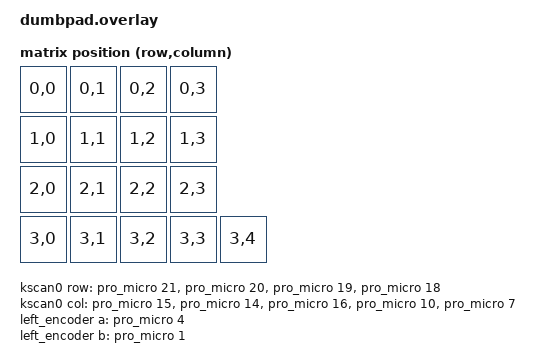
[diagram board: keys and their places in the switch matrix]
#include <dt-bindings/zmk/matrix_transform.h>
#include <physical_layouts.dtsi>

/ {
    chosen {
        zmk,kscan = &kscan0;
        zmk,physical-layout = &physical_layout0;
    };

    default_transform: keymap_transform_0 {
        compatible = "zmk,matrix-transform";
        columns = <5>;
        rows = <4>;
        map = <
            RC(0,0) RC(0,1) RC(0,2) RC(0,3)
            RC(1,0) RC(1,1) RC(1,2) RC(1,3)
            RC(2,0) RC(2,1) RC(2,2) RC(2,3)
            RC(3,0) RC(3,1) RC(3,2) RC(3,3) RC(3,4)
        >;
    };

    kscan0: kscan_0 {
        compatible = "zmk,kscan-gpio-matrix";
        diode-direction = "col2row";
        wakeup-source;

        row-gpios
            = <&pro_micro 21 (GPIO_ACTIVE_HIGH | GPIO_PULL_DOWN)> // F4 / A3
            , <&pro_micro 20 (GPIO_ACTIVE_HIGH | GPIO_PULL_DOWN)> // F5 / A2
            , <&pro_micro 19 (GPIO_ACTIVE_HIGH | GPIO_PULL_DOWN)> // F6 / A1
            , <&pro_micro 18 (GPIO_ACTIVE_HIGH | GPIO_PULL_DOWN)> // F7 / A0
            ;

        col-gpios
            = <&pro_micro 15 GPIO_ACTIVE_HIGH> // B1
            , <&pro_micro 14 GPIO_ACTIVE_HIGH> // B3
            , <&pro_micro 16 GPIO_ACTIVE_HIGH> // B2
            , <&pro_micro 10 GPIO_ACTIVE_HIGH> // B6
            , <&pro_micro 7  GPIO_ACTIVE_HIGH> // E6
            ;
    };

    left_encoder: encoder_left {
        compatible = "alps,ec11";
        a-gpios = <&pro_micro 4 (GPIO_ACTIVE_HIGH | GPIO_PULL_UP)>; // D4
        b-gpios = <&pro_micro 1 (GPIO_ACTIVE_HIGH | GPIO_PULL_UP)>; // C6 (Pro Micro pin 1 / TX0)
        steps = <80>;
    };

    sensors: sensors {
        compatible = "zmk,keymap-sensors";
        sensors = <&left_encoder>;
        triggers-per-rotation = <20>;
    };

    physical_layout0: physical_layout_0 {
        compatible = "zmk,physical-layout";
        display-name = "Dumbpad Layout";
        transform = <&default_transform>;
        kscan = <&kscan0>;
        keys
            = <&key_physical_attrs 100 100 0 0 0 0 0>
            , <&key_physical_attrs 100 100 100 0 0 0 0>
            , <&key_physical_attrs 100 100 200 0 0 0 0>
            , <&key_physical_attrs 100 100 300 0 0 0 0>
            // Row 1
            , <&key_physical_attrs 100 100 0 100 0 0 0>
            , <&key_physical_attrs 100 100 100 100 0 0 0>
            , <&key_physical_attrs 100 100 200 100 0 0 0>
            , <&key_physical_attrs 100 100 300 100 0 0 0>
            // Row 2
            , <&key_physical_attrs 100 100 0 200 0 0 0>
            , <&key_physical_attrs 100 100 100 200 0 0 0>
            , <&key_physical_attrs 100 100 200 200 0 0 0>
            , <&key_physical_attrs 100 100 300 200 0 0 0>
            // Row 3
            , <&key_physical_attrs 100 100 0 300 0 0 0>
            , <&key_physical_attrs 100 100 100 300 0 0 0>
            , <&key_physical_attrs 100 100 200 300 0 0 0>
            , <&key_physical_attrs 100 100 300 300 0 0 0>
            , <&key_physical_attrs 100 100 400 300 0 0 0>
            ;
    };
};
